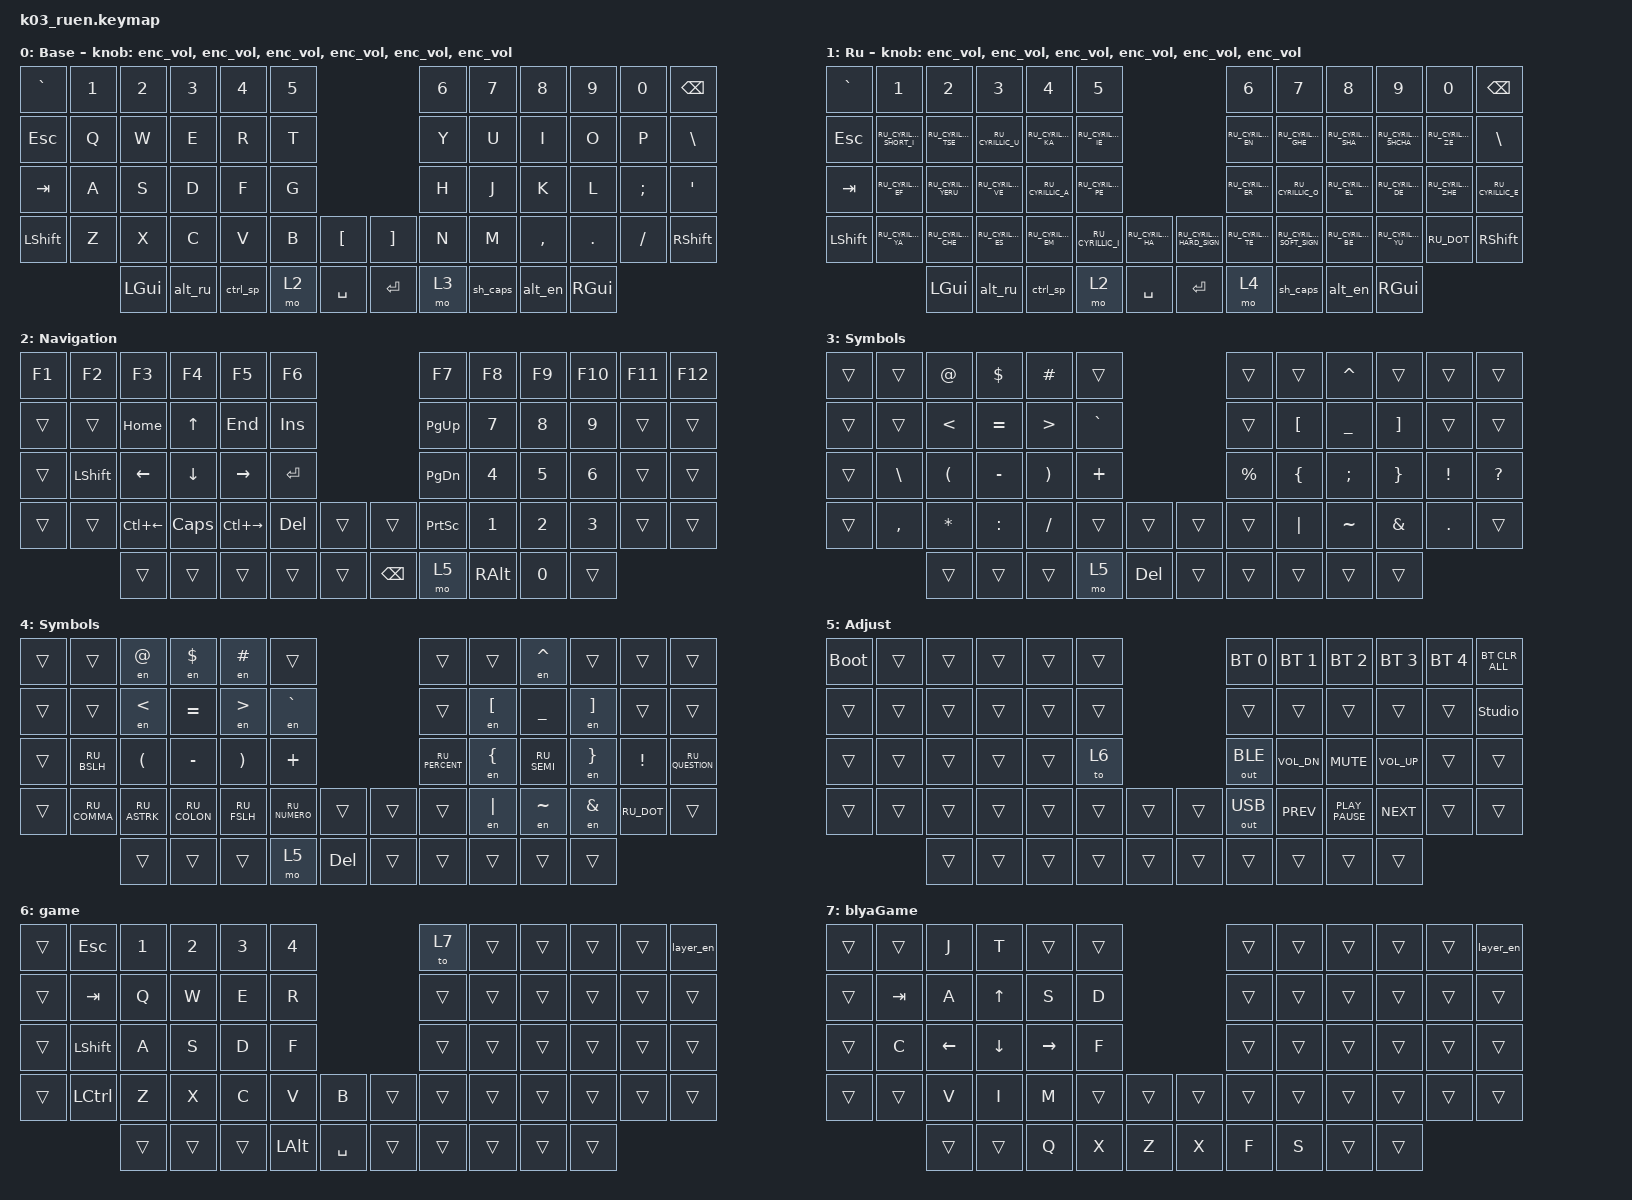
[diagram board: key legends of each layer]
#include "keys_ru.h"
#include <behaviors.dtsi>
#include <dt-bindings/zmk/bt.h>
#include <dt-bindings/zmk/keys.h>
#include <dt-bindings/zmk/outputs.h>

/ {
    behaviors {
        enc_vol: enc_vol {
            compatible = "zmk,behavior-sensor-rotate";
            label = "ENC_VOL";
            #sensor-binding-cells = <0>;
            bindings = <&kp C_VOL_UP>, <&kp C_VOL_DN>;
        };

        sh_caps: sh_caps {
            compatible = "zmk,behavior-tap-dance";
            label = "SH_CAPS";
            #binding-cells = <0>;
            bindings = <&sk LSHFT>, <&caps_word>;
        };

        ctrl_sp: ctrl_sp {
            compatible = "zmk,behavior-tap-dance";
            label = "CTRL_SP";
            #binding-cells = <0>;
            bindings = <&kp LCTRL>, <&kp LC(SPACE)>;
        };

        alt_ru: alt_ru {
            compatible = "zmk,behavior-tap-dance";
            label = "ALT_RU";
            #binding-cells = <0>;
            bindings = <&kp LALT>, <&layer_ru>;
        };

        alt_en: alt_en {
            compatible = "zmk,behavior-tap-dance";
            label = "ALT_EN";
            #binding-cells = <0>;
            bindings = <&kp RALT>, <&layer_en>;
        };
    };

    combos {
        compatible = "zmk,combos";

        cmben {
            bindings = <&layer_en>;
            key-positions = <15 16>;
            layers = <1>;
        };

        cmbru {
            bindings = <&layer_ru>;
            key-positions = <15 16>;
            layers = <0>;
        };

        ctrl_c {
            bindings = <&kp LC(C)>;
            key-positions = <26 27>;
            layers = <0 1>;
        };

        ctrl_v {
            bindings = <&kp LC(V)>;
            key-positions = <27 28>;
            layers = <0 1>;
        };

        ctrl_z {
            bindings = <&kp LC(Z)>;
            key-positions = <25 26>;
            layers = <0 1>;
        };

        ctrl_f {
            bindings = <&kp LC(F)>;
            key-positions = <28 29>;
            layers = <0 1>;
        };
    };

    macros {
        to_ru: to_ru {
            compatible = "zmk,behavior-macro";
            #binding-cells = <0>;
            bindings = <&kp LS(LC(N2))>;
            label = "TO_RU";
            wait-ms = <0>;
            tap-ms = <30>;
        };

        to_en: to_en {
            compatible = "zmk,behavior-macro";
            #binding-cells = <0>;
            bindings = <&kp LS(LC(N1))>;
            label = "TO_EN";
            wait-ms = <0>;
            tap-ms = <30>;
        };

        layer_en: layer_en {
            compatible = "zmk,behavior-macro";
            #binding-cells = <0>;
            bindings = <&to 0 &to_en>;
            label = "LAYER_EN";
            wait-ms = <0>;
            tap-ms = <30>;
        };

        layer_ru: layer_ru {
            compatible = "zmk,behavior-macro";
            #binding-cells = <0>;
            bindings = <&to 1 &to_ru>;
            label = "LAYER_RU";
            tap-ms = <30>;
            wait-ms = <0>;
        };

        en: en {
            compatible = "zmk,behavior-macro-one-param";
            #binding-cells = <1>;
            bindings =
                <&to_en>,
                <&macro_press>,
                <&macro_param_1to1 &kp MACRO_PLACEHOLDER>,
                <&macro_pause_for_release>,
                <&macro_release>,
                <&macro_param_1to1 &kp MACRO_PLACEHOLDER>,
                <&macro_tap>,
                <&to_ru>;

            label = "EN";
            wait-ms = <0>;
            tap-ms = <30>;
        };
    };

    keymap {
        compatible = "zmk,keymap";

        en {
            bindings = <
&kp GRAVE  &kp N1  &kp N2    &kp N3   &kp N4    &kp N5                          &kp N6  &kp N7    &kp N8     &kp N9    &kp N0    &kp BSPC
&kp ESC    &kp Q   &kp W     &kp E    &kp R     &kp T                           &kp Y   &kp U     &kp I      &kp O     &kp P     &kp BSLH
&kp TAB    &kp A   &kp S     &kp D    &kp F     &kp G                           &kp H   &kp J     &kp K      &kp L     &kp SEMI  &kp SQT
&kp LSHFT  &kp Z   &kp X     &kp C    &kp V     &kp B   &kp LBKT     &kp RBKT   &kp N   &kp M     &kp COMMA  &kp DOT   &kp FSLH  &kp RSHFT
                   &kp LGUI  &alt_ru  &ctrl_sp  &mo 2   &kp SPACE    &kp ENTER  &mo 3   &sh_caps  &alt_en    &kp RGUI
            >;

            display-name = "Base";
            sensor-bindings =
                <&enc_vol>,
                <&enc_vol>,
                <&enc_vol>,
                <&enc_vol>,
                <&enc_vol>,
                <&enc_vol>;
        };

        ru {
            display-name = "Ru";
            bindings = <
&kp GRAVE  &kp N1                   &kp N2                &kp N3              &kp N4              &kp N5                                                               &kp N6              &kp N7                     &kp N8               &kp N9                 &kp N0               &kp BSPC
&kp ESC    &kp RU_CYRILLIC_SHORT_I  &kp RU_CYRILLIC_TSE   &kp RU_CYRILLIC_U   &kp RU_CYRILLIC_KA  &kp RU_CYRILLIC_IE                                                   &kp RU_CYRILLIC_EN  &kp RU_CYRILLIC_GHE        &kp RU_CYRILLIC_SHA  &kp RU_CYRILLIC_SHCHA  &kp RU_CYRILLIC_ZE   &kp BSLH
&kp TAB    &kp RU_CYRILLIC_EF       &kp RU_CYRILLIC_YERU  &kp RU_CYRILLIC_VE  &kp RU_CYRILLIC_A   &kp RU_CYRILLIC_PE                                                   &kp RU_CYRILLIC_ER  &kp RU_CYRILLIC_O          &kp RU_CYRILLIC_EL   &kp RU_CYRILLIC_DE     &kp RU_CYRILLIC_ZHE  &kp RU_CYRILLIC_E
&kp LSHFT  &kp RU_CYRILLIC_YA       &kp RU_CYRILLIC_CHE   &kp RU_CYRILLIC_ES  &kp RU_CYRILLIC_EM  &kp RU_CYRILLIC_I   &kp RU_CYRILLIC_HA    &kp RU_CYRILLIC_HARD_SIGN  &kp RU_CYRILLIC_TE  &kp RU_CYRILLIC_SOFT_SIGN  &kp RU_CYRILLIC_BE   &kp RU_CYRILLIC_YU     &kp RU_DOT           &kp RSHFT
                                    &kp LGUI              &alt_ru             &ctrl_sp            &mo 2               &kp SPACE             &kp ENTER                  &mo 4               &sh_caps                   &alt_en              &kp RGUI
            >;

            sensor-bindings =
                <&enc_vol>,
                <&enc_vol>,
                <&enc_vol>,
                <&enc_vol>,
                <&enc_vol>,
                <&enc_vol>;
        };

        nav {
            bindings = <
&kp F1  &kp F2     &kp F3        &kp F4    &kp F5         &kp F6                            &kp F7           &kp F8    &kp F9  &kp F10  &kp F11  &kp F12
&trans  &trans     &kp HOME      &kp UP    &kp END        &kp INS                           &kp PG_UP        &kp N7    &kp N8  &kp N9   &trans   &trans
&trans  &kp LSHFT  &kp LEFT      &kp DOWN  &kp RIGHT      &kp RET                           &kp PG_DN        &kp N4    &kp N5  &kp N6   &trans   &trans
&trans  &trans     &kp LC(LEFT)  &kp CAPS  &kp LC(RIGHT)  &kp DEL  &trans    &trans         &kp PRINTSCREEN  &kp N1    &kp N2  &kp N3   &trans   &trans
                   &trans        &trans    &trans         &trans   &trans    &kp BACKSPACE  &mo 5            &kp RALT  &kp N0  &trans
            >;

            display-name = "Navigation";
        };

        sym_en {
            bindings = <
&trans  &trans     &kp AT    &kp DLLR   &kp HASH  &trans                           &trans     &trans    &kp CARET  &trans    &trans    &trans
&trans  &trans     &kp LT    &kp EQUAL  &kp GT    &kp GRAVE                        &trans     &kp LBKT  &kp UNDER  &kp RBKT  &trans    &trans
&trans  &kp BSLH   &kp LPAR  &kp MINUS  &kp RPAR  &kp PLUS                         &kp PRCNT  &kp LBRC  &kp SEMI   &kp RBRC  &kp EXCL  &kp QUESTION
&trans  &kp COMMA  &kp STAR  &kp COLON  &kp FSLH  &trans     &trans        &trans  &trans     &kp PIPE  &kp TILDE  &kp AMPS  &kp DOT   &trans
                   &trans    &trans     &trans    &mo 5      &kp DELETE    &trans  &trans     &trans    &trans     &trans
            >;

            display-name = "Symbols";
        };

        sym_ru {
            display-name = "Symbols";
            bindings = <
&trans  &trans        &en AT        &en DLLR      &en HASH     &trans                               &trans          &trans    &en CARET    &trans    &trans      &trans
&trans  &trans        &en LT        &kp EQUAL     &en GT       &en GRAVE                            &trans          &en LBKT  &kp UNDER    &en RBKT  &trans      &trans
&trans  &kp RU_BSLH   &kp LPAR      &kp MINUS     &kp RPAR     &kp PLUS                             &kp RU_PERCENT  &en LBRC  &kp RU_SEMI  &en RBRC  &kp EXCL    &kp RU_QUESTION
&trans  &kp RU_COMMA  &kp RU_ASTRK  &kp RU_COLON  &kp RU_FSLH  &kp RU_NUMERO  &trans        &trans  &trans          &en PIPE  &en TILDE    &en AMPS  &kp RU_DOT  &trans
                      &trans        &trans        &trans       &mo 5          &kp DELETE    &trans  &trans          &trans    &trans       &trans
            >;
        };

        adj {
            bindings = <
&bootloader  &trans  &trans  &trans  &trans  &trans                    &bt BT_SEL 0  &bt BT_SEL 1  &bt BT_SEL 2      &bt BT_SEL 3  &bt BT_SEL 4  &bt BT_CLR_ALL
&trans       &trans  &trans  &trans  &trans  &trans                    &trans        &trans        &trans            &trans        &trans        &studio_unlock
&trans       &trans  &trans  &trans  &trans  &to 6                     &out OUT_BLE  &kp C_VOL_DN  &kp K_MUTE        &kp C_VOL_UP  &trans        &trans
&trans       &trans  &trans  &trans  &trans  &trans  &trans    &trans  &out OUT_USB  &kp K_PREV    &kp K_PLAY_PAUSE  &kp K_NEXT    &trans        &trans
                     &trans  &trans  &trans  &trans  &trans    &trans  &trans        &trans        &trans            &trans
            >;

            display-name = "Adjust";
        };

        game {
            bindings = <
&trans  &kp ESC    &kp N1  &kp N2  &kp N3  &kp N4                         &to 7   &trans  &trans  &trans  &trans  &layer_en
&trans  &kp TAB    &kp Q   &kp W   &kp E   &kp R                          &trans  &trans  &trans  &trans  &trans  &trans
&trans  &kp LSHFT  &kp A   &kp S   &kp D   &kp F                          &trans  &trans  &trans  &trans  &trans  &trans
&trans  &kp LCTRL  &kp Z   &kp X   &kp C   &kp V     &kp B        &trans  &trans  &trans  &trans  &trans  &trans  &trans
                   &trans  &trans  &trans  &kp LALT  &kp SPACE    &trans  &trans  &trans  &trans  &trans
            >;

            label = "game";
        };

        hornet_blya {
            bindings = <
&trans  &trans   &kp J     &kp T     &trans     &trans                    &trans  &trans  &trans  &trans  &trans  &layer_en
&trans  &kp TAB  &kp A     &kp UP    &kp S      &kp D                     &trans  &trans  &trans  &trans  &trans  &trans
&trans  &kp C    &kp LEFT  &kp DOWN  &kp RIGHT  &kp F                     &trans  &trans  &trans  &trans  &trans  &trans
&trans  &trans   &kp V     &kp I     &kp M      &trans  &trans    &trans  &trans  &trans  &trans  &trans  &trans  &trans
                 &trans    &trans    &kp Q      &kp X   &kp Z     &kp X   &kp F   &kp S   &trans  &trans
            >;

            label = "blyaGame";
        };
    };
};
